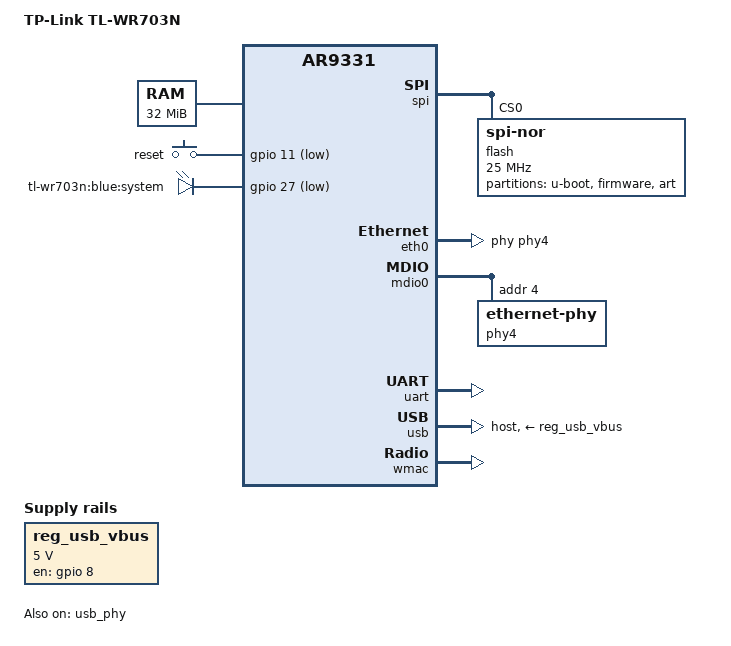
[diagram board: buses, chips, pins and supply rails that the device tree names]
// SPDX-License-Identifier: GPL-2.0-or-later OR MIT
/dts-v1/;

#include <dt-bindings/gpio/gpio.h>
#include <dt-bindings/input/input.h>

#include "ar9331.dtsi"

/ {
	compatible = "tplink,tl-wr703n", "qca,ar9331";
	model = "TP-Link TL-WR703N";

	aliases {
		serial0 = &uart;
		led-status = &led_system;
	};

	memory@0 {
		device_type = "memory";
		reg = <0x0 0x2000000>;
	};

	gpio-keys-polled {
		compatible = "gpio-keys-polled";
		#address-cells = <1>;
		#size-cells = <0>;
		poll-interval = <20>;

		reset {
			label = "reset";
			linux,code = <KEY_RESTART>;
			gpios = <&gpio 11 GPIO_ACTIVE_LOW>;
			debounce-interval = <60>;
		};
	};
	
	gpio-leds {
		compatible = "gpio-leds";

		led_system: system {
			label = "tl-wr703n:blue:system";
			gpios = <&gpio 27 GPIO_ACTIVE_LOW>;
		};
	};

	reg_usb_vbus: reg_usb_vbus {
		compatible = "regulator-fixed";
		regulator-name = "usb_vbus";
		regulator-min-microvolt = <5000000>;
		regulator-max-microvolt = <5000000>;
		gpio = <&gpio 8 GPIO_ACTIVE_HIGH>;
		enable-active-high;
	};

};

&spi {
	status = "okay";
	num-cs = <1>;

	flash@0 {
		#address-cells = <1>;
		#size-cells = <1>;
		compatible = "jedec,spi-nor";
		reg = <0>;
		spi-max-frequency = <25000000>;

		partitions {
			compatible = "fixed-partitions";
			#address-cells = <1>;
			#size-cells = <1>;

			uboot: partition@0 {
				reg = <0x0 0x20000>;
				label = "u-boot";
				read-only;
			};

			firmware: partition@20000 {
				reg = <0x20000 0x3d0000>;
				label = "firmware";
			};

			art: partition@3f0000 {
				reg = <0x3f0000 0x10000>;
				label = "art";
				read-only;
			};
		};
	};
};

&eth0 {
	status = "okay";

	phy-handle = <&phy4>;

	mtd-mac-address = <&uboot 0x1fc00>;

	gmac-config {
		device = <&gmac>;

		switch-phy-addr-swap = <0>;
		switch-phy-swap = <0>;
	};
};

&gpio {
	status = "okay";
};

&mdio0 {
	status = "okay";

	phy4: ethernet-phy@4 {
		reg = <4>;
		phy-mode = "mii";
	};
};

&uart {
	status = "okay";
};

&usb {
	dr_mode = "host";
	vbus-supply = <&reg_usb_vbus>;
	status = "okay";
};

&usb_phy {
	status = "okay";
};

&wmac {
	status = "okay";
	mtd-cal-data = <&art 0x1000>;
	mtd-mac-address = <&uboot 0x1fc00>;
};
